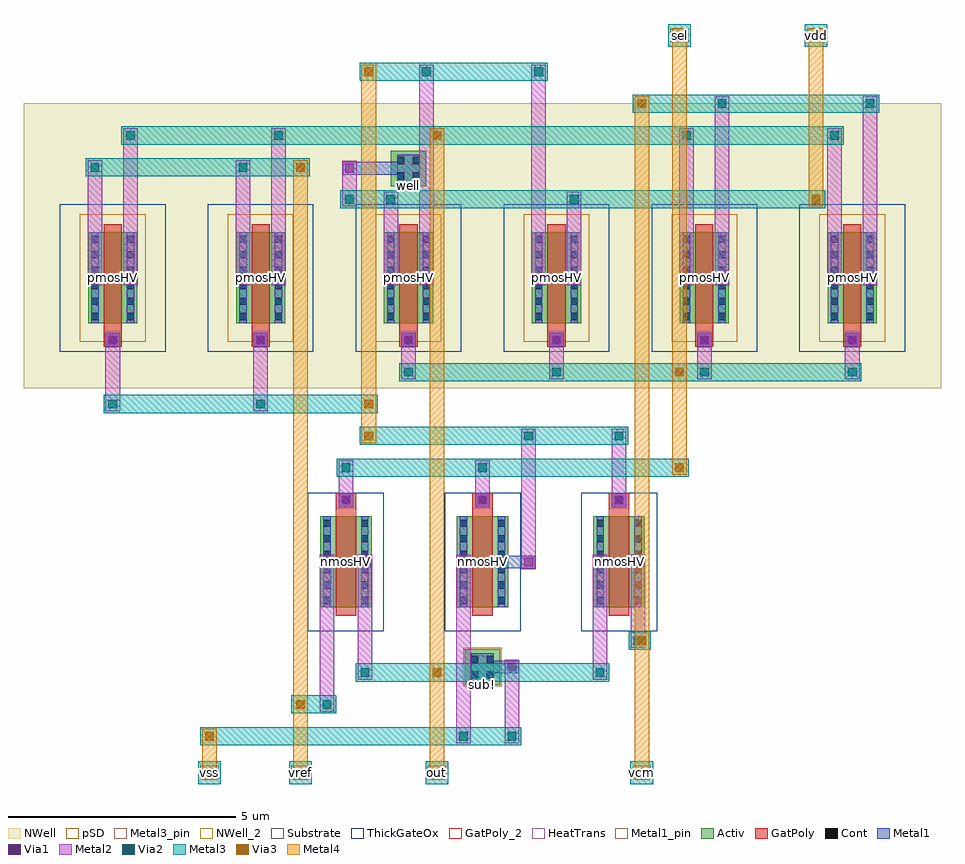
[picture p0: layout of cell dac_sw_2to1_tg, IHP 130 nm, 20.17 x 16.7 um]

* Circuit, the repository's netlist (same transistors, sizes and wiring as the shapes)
** sch_path: /home/arjun/eda/projects/SAR_ADC/circuit_files/sar_adc_test/xschem/dac_sw_2to1_tg.sch
.subckt dac_sw_2to1_tg sel out vss vdd vref vcm
*.PININFO sel:I vdd:B vref:B vcm:B vss:B out:B
x1 vss sel selb vdd vref out tg
x3 vss selb sel vdd vcm out tg
x2 vdd sel selb vss inverter
.ends

* expanding   symbol:  tg.sym # of pins=6
** sym_path: /home/arjun/eda/projects/SAR_ADC/circuit_files/sar_adc_test/xschem/tg.sym
** sch_path: /home/arjun/eda/projects/SAR_ADC/circuit_files/sar_adc_test/xschem/tg.sch
.subckt tg vss ng pg vdd a b
*.PININFO ng:I vdd:B pg:I a:B b:B vss:B
MM12 b ng a vss sg13_hv_nmos w=2u l=0.45u ng=1
MM16 b pg a vdd sg13_hv_pmos w=2u l=0.4u ng=1 m=2
.ends


* expanding   symbol:  inverter.sym # of pins=4
** sym_path: /home/arjun/eda/projects/SAR_ADC/circuit_files/sar_adc_test/xschem/inverter.sym
** sch_path: /home/arjun/eda/projects/SAR_ADC/circuit_files/sar_adc_test/xschem/inverter.sch
.subckt inverter vdd Vinn Voutp vss
*.PININFO vdd:B vss:B Vinn:I Voutp:O
MM12 Voutp Vinn vss vss sg13_hv_nmos w=2u l=0.45u ng=1
MM16 Voutp Vinn vdd vdd sg13_hv_pmos w=2u l=0.4u ng=1 m=2
.ends

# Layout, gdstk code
import gdstk
lib = gdstk.Library(unit=1e-6, precision=1e-09)
def R(c, l, rs):  # rectangles x0, y0, x1, y1
    for r in rs: c.add(gdstk.rectangle(r[:2], r[2:], *l))
def A(c, l, x, y, w, h, nx, ny, dx, dy):  # array of equal rectangles
    R(c, l, [(x+i*dx, y+j*dy, x+i*dx+w, y+j*dy+h) for i in range(nx) for j in range(ny)])
Activ = (1, 0)
GatPoly = (5, 0)
GatPoly_2 = (5, 2)
Cont = (6, 0)
Metal1 = (8, 0)
Metal1_pin = (8, 2)
Metal2 = (10, 0)
pSD = (14, 0)
Via1 = (19, 0)
Via2 = (29, 0)
Metal3 = (30, 0)
Metal3_pin = (30, 2)
NWell = (31, 0)
NWell_2 = (31, 2)
Substrate = (40, 0)
ThickGateOx = (44, 0)
Via3 = (49, 0)
Metal4 = (50, 0)
HeatTrans = (51, 0)

dac_sw_2to1_tg = lib.new_cell('dac_sw_2to1_tg')
A(dac_sw_2to1_tg, Activ, -3.565, 3.63, 1.13, 2, 3, 1, 3, 0)
A(dac_sw_2to1_tg, Activ, -8.665, 9.87, 1.08, 2, 6, 1, 3.25, 0)
R(dac_sw_2to1_tg, Activ, [(-0.39,1.93,0.39,2.71), (-3.565,3.63,-3.265,3.93), (-2.735,3.63,-2.435,3.93), (-0.565,3.63,-0.265,3.93), (0.265,3.63,0.565,3.93), (2.435,3.63,2.735,3.93), (3.265,3.63,3.565,3.93), (-8.665,9.87,-8.365,10.17), (-7.885,9.87,-7.585,10.17), (-5.415,9.87,-5.115,10.17), (-4.635,9.87,-4.335,10.17), (-2.165,9.87,-1.865,10.17), (-1.385,9.87,-1.085,10.17), (1.085,9.87,1.385,10.17), (1.865,9.87,2.165,10.17), (4.335,9.87,4.635,10.17), (5.115,9.87,5.415,10.17), (7.585,9.87,7.885,10.17), (8.365,9.87,8.665,10.17), (-2.015,12.89,-1.235,13.67)])
A(dac_sw_2to1_tg, GatPoly, -3.225, 3.45, 0.45, 2.36, 3, 1, 3, 0)
A(dac_sw_2to1_tg, GatPoly, -3.225, 5.79, 0.45, 0.35, 3, 1, 3, 0)
A(dac_sw_2to1_tg, GatPoly, -8.325, 9.36, 0.4, 0.35, 6, 1, 3.25, 0)
A(dac_sw_2to1_tg, GatPoly, -8.325, 9.69, 0.4, 2.36, 6, 1, 3.25, 0)
A(dac_sw_2to1_tg, GatPoly_2, -3.225, 3.45, 0.45, 2.36, 3, 1, 3, 0)
A(dac_sw_2to1_tg, GatPoly_2, -8.325, 9.69, 0.4, 2.36, 6, 1, 3.25, 0)
A(dac_sw_2to1_tg, Cont, -3.495, 3.7, 0.16, 0.16, 1, 6, 0, 0.34)
A(dac_sw_2to1_tg, Cont, -2.665, 3.7, 0.16, 0.16, 1, 6, 0, 0.34)
A(dac_sw_2to1_tg, Cont, -0.495, 3.7, 0.16, 0.16, 1, 6, 0, 0.34)
A(dac_sw_2to1_tg, Cont, 0.335, 3.7, 0.16, 0.16, 1, 6, 0, 0.34)
A(dac_sw_2to1_tg, Cont, 2.505, 3.7, 0.16, 0.16, 1, 6, 0, 0.34)
A(dac_sw_2to1_tg, Cont, 3.335, 3.7, 0.16, 0.16, 1, 6, 0, 0.34)
A(dac_sw_2to1_tg, Cont, -3.08, 5.91, 0.16, 0.16, 3, 1, 3, 0)
A(dac_sw_2to1_tg, Cont, -8.205, 9.43, 0.16, 0.16, 6, 1, 3.25, 0)
A(dac_sw_2to1_tg, Cont, -8.595, 9.94, 0.16, 0.16, 1, 6, 0, 0.34)
A(dac_sw_2to1_tg, Cont, -7.815, 9.94, 0.16, 0.16, 1, 6, 0, 0.34)
A(dac_sw_2to1_tg, Cont, -5.345, 9.94, 0.16, 0.16, 1, 6, 0, 0.34)
A(dac_sw_2to1_tg, Cont, -4.565, 9.94, 0.16, 0.16, 1, 6, 0, 0.34)
A(dac_sw_2to1_tg, Cont, -2.095, 9.94, 0.16, 0.16, 1, 6, 0, 0.34)
A(dac_sw_2to1_tg, Cont, -1.315, 9.94, 0.16, 0.16, 1, 6, 0, 0.34)
A(dac_sw_2to1_tg, Cont, 1.155, 9.94, 0.16, 0.16, 1, 6, 0, 0.34)
A(dac_sw_2to1_tg, Cont, 1.935, 9.94, 0.16, 0.16, 1, 6, 0, 0.34)
A(dac_sw_2to1_tg, Cont, 4.405, 9.94, 0.16, 0.16, 1, 6, 0, 0.34)
A(dac_sw_2to1_tg, Cont, 5.185, 9.94, 0.16, 0.16, 1, 6, 0, 0.34)
A(dac_sw_2to1_tg, Cont, 7.655, 9.94, 0.16, 0.16, 1, 6, 0, 0.34)
A(dac_sw_2to1_tg, Cont, 8.435, 9.94, 0.16, 0.16, 1, 6, 0, 0.34)
R(dac_sw_2to1_tg, Cont, [(-0.25,2.07,-0.09,2.23), (0.09,2.07,0.25,2.23), (-0.25,2.41,-0.09,2.57), (0.09,2.41,0.25,2.57), (-1.875,13.03,-1.715,13.19), (-1.535,13.03,-1.375,13.19), (-1.875,13.37,-1.715,13.53), (-1.535,13.37,-1.375,13.53)])
A(dac_sw_2to1_tg, Metal1, -3.16, 5.83, 0.32, 0.32, 3, 1, 3, 0)
A(dac_sw_2to1_tg, Metal1, -3.145, 5.885, 0.29, 0.21, 3, 1, 3, 0)
A(dac_sw_2to1_tg, Metal1, -8.285, 9.35, 0.32, 0.32, 6, 1, 3.25, 0)
A(dac_sw_2to1_tg, Metal1, -8.27, 9.405, 0.29, 0.21, 6, 1, 3.25, 0)
R(dac_sw_2to1_tg, Metal1, [(-0.25,2.02,0.25,2.62), (-0.25,2.07,0.25,2.57), (-0.14,2.18,0.79,2.46), (0.505,2.215,0.795,2.425), (-3.495,3.63,-3.335,5.63), (-2.665,3.63,-2.505,5.63), (-0.495,3.63,-0.335,5.63), (0.335,3.63,0.495,5.63), (2.505,3.63,2.665,5.63), (3.335,3.63,3.495,5.63), (0.275,4.49,1.155,4.77), (-3.56,4.525,-3.27,4.735), (-2.73,4.525,-2.44,4.735), (-0.56,4.525,-0.27,4.735), (0.87,4.525,1.16,4.735), (2.44,4.525,2.73,4.735), (3.27,4.525,3.56,4.735), (-8.595,9.87,-8.435,11.87), (-7.815,9.87,-7.655,11.87), (-5.345,9.87,-5.185,11.87), (-4.565,9.87,-4.405,11.87), (-2.095,9.87,-1.935,11.87), (-1.315,9.87,-1.155,11.87), (1.155,9.87,1.315,11.87), (1.935,9.87,2.095,11.87), (4.405,9.87,4.565,11.87), (5.185,9.87,5.345,11.87), (7.655,9.87,7.815,11.87), (8.435,9.87,8.595,11.87), (-8.66,10.765,-8.37,10.975), (-7.88,10.765,-7.59,10.975), (-5.41,10.765,-5.12,10.975), (-4.63,10.765,-4.34,10.975), (-2.16,10.765,-1.87,10.975), (-1.38,10.765,-1.09,10.975), (1.09,10.765,1.38,10.975), (1.87,10.765,2.16,10.975), (4.34,10.765,4.63,10.975), (5.12,10.765,5.41,10.975), (7.59,10.765,7.88,10.975), (8.37,10.765,8.66,10.975), (-1.875,12.98,-1.375,13.58), (-3.065,13.14,-1.485,13.42), (-3.07,13.175,-2.78,13.385)])
R(dac_sw_2to1_tg, Metal1_pin, [(-0.25,2.07,0.25,2.57), (-3.495,3.63,-3.335,5.63), (-2.665,3.63,-2.505,5.63), (-0.495,3.63,-0.335,5.63), (0.335,3.63,0.495,5.63), (2.505,3.63,2.665,5.63), (3.335,3.63,3.495,5.63), (-8.595,9.87,-8.435,11.87), (-7.815,9.87,-7.655,11.87), (-5.345,9.87,-5.185,11.87), (-4.565,9.87,-4.405,11.87), (-2.095,9.87,-1.935,11.87), (-1.315,9.87,-1.155,11.87), (1.155,9.87,1.315,11.87), (1.935,9.87,2.095,11.87), (4.405,9.87,4.565,11.87), (5.185,9.87,5.345,11.87), (7.655,9.87,7.815,11.87), (8.435,9.87,8.595,11.87), (-1.875,12.98,-1.375,13.58), (-1.875,13.03,-1.375,13.53)])
A(dac_sw_2to1_tg, Metal2, -3.145, 5.89, 0.29, 0.2, 3, 1, 3, 0)
A(dac_sw_2to1_tg, Metal2, -1.785, 8.64, 0.32, 1.03, 4, 1, 3.25, 0)
A(dac_sw_2to1_tg, Metal2, -1.77, 8.7, 0.29, 0.2, 4, 1, 3.25, 0)
A(dac_sw_2to1_tg, Metal2, -8.27, 9.41, 0.29, 0.2, 6, 1, 3.25, 0)
R(dac_sw_2to1_tg, Metal2, [(-0.575,0.64,-0.255,4.79), (0.49,0.64,0.81,2.48), (-0.56,0.7,-0.27,0.9), (0.505,0.7,0.795,0.9), (-3.575,1.34,-3.255,4.79), (-3.56,1.4,-3.27,1.6), (-2.745,2.04,-2.425,4.79), (2.425,2.04,2.745,4.79), (-2.73,2.1,-2.44,2.3), (2.44,2.1,2.73,2.3), (0.505,2.22,0.795,2.42), (3.255,2.74,3.575,4.79), (3.27,2.8,3.56,3), (0.855,4.47,1.175,7.56), (-3.56,4.53,-3.27,4.73), (-2.73,4.53,-2.44,4.73), (-0.56,4.53,-0.27,4.73), (0.87,4.53,1.16,4.73), (2.44,4.53,2.73,4.73), (3.27,4.53,3.56,4.73), (-3.16,5.83,-2.84,6.86), (-0.16,5.83,0.16,6.86), (2.84,5.83,3.16,7.56), (-3.145,6.6,-2.855,6.8), (-0.145,6.6,0.145,6.8), (0.87,7.3,1.16,7.5), (2.855,7.3,3.145,7.5), (-8.285,7.94,-7.965,9.67), (-5.035,7.94,-4.715,9.67), (-8.27,8,-7.98,8.2), (-5.02,8,-4.73,8.2), (-8.675,10.71,-8.355,13.46), (-7.895,10.71,-7.575,14.16), (-5.425,10.71,-5.105,13.46), (-4.645,10.71,-4.325,14.16), (-2.175,10.71,-1.855,12.76), (-1.395,10.71,-1.075,15.56), (1.075,10.71,1.395,15.56), (1.855,10.71,2.175,12.76), (4.325,10.71,4.645,14.16), (5.105,10.71,5.425,14.86), (7.575,10.71,7.895,14.16), (8.355,10.71,8.675,14.86), (-8.66,10.77,-8.37,10.97), (-7.88,10.77,-7.59,10.97), (-5.41,10.77,-5.12,10.97), (-4.63,10.77,-4.34,10.97), (-2.16,10.77,-1.87,10.97), (-1.38,10.77,-1.09,10.97), (1.09,10.77,1.38,10.97), (1.87,10.77,2.16,10.97), (4.34,10.77,4.63,10.97), (5.12,10.77,5.41,10.97), (7.59,10.77,7.88,10.97), (8.37,10.77,8.66,10.97), (-3.085,12.44,-2.765,13.44), (-3.07,12.5,-2.78,12.7), (-2.16,12.5,-1.87,12.7), (1.87,12.5,2.16,12.7), (-3.07,13.18,-2.78,13.38), (-8.66,13.2,-8.37,13.4), (-5.41,13.2,-5.12,13.4), (-7.88,13.9,-7.59,14.1), (-4.63,13.9,-4.34,14.1), (4.34,13.9,4.63,14.1), (7.59,13.9,7.88,14.1), (5.12,14.6,5.41,14.8), (8.37,14.6,8.66,14.8), (-1.38,15.3,-1.09,15.5), (1.09,15.3,1.38,15.5)])
A(dac_sw_2to1_tg, pSD, -8.845, 9.47, 1.44, 2.8, 6, 1, 3.25, 0)
R(dac_sw_2to1_tg, pSD, [(-0.42,1.9,0.42,2.74)])
A(dac_sw_2to1_tg, Via1, -3.095, 5.895, 0.19, 0.19, 3, 1, 3, 0)
A(dac_sw_2to1_tg, Via1, -8.22, 9.415, 0.19, 0.19, 6, 1, 3.25, 0)
R(dac_sw_2to1_tg, Via1, [(0.555,2.225,0.745,2.415), (-3.51,4.535,-3.32,4.725), (-2.68,4.535,-2.49,4.725), (-0.51,4.535,-0.32,4.725), (0.92,4.535,1.11,4.725), (2.49,4.535,2.68,4.725), (3.32,4.535,3.51,4.725), (-8.61,10.775,-8.42,10.965), (-7.83,10.775,-7.64,10.965), (-5.36,10.775,-5.17,10.965), (-4.58,10.775,-4.39,10.965), (-2.11,10.775,-1.92,10.965), (-1.33,10.775,-1.14,10.965), (1.14,10.775,1.33,10.965), (1.92,10.775,2.11,10.965), (4.39,10.775,4.58,10.965), (5.17,10.775,5.36,10.965), (7.64,10.775,7.83,10.965), (8.42,10.775,8.61,10.965), (-3.02,13.185,-2.83,13.375)])
A(dac_sw_2to1_tg, Via2, -1.72, 8.705, 0.19, 0.19, 4, 1, 3.25, 0)
R(dac_sw_2to1_tg, Via2, [(-0.51,0.705,-0.32,0.895), (0.555,0.705,0.745,0.895), (-3.51,1.405,-3.32,1.595), (-2.68,2.105,-2.49,2.295), (2.49,2.105,2.68,2.295), (3.32,2.805,3.51,2.995), (-3.095,6.605,-2.905,6.795), (-0.095,6.605,0.095,6.795), (0.92,7.305,1.11,7.495), (2.905,7.305,3.095,7.495), (-8.22,8.005,-8.03,8.195), (-4.97,8.005,-4.78,8.195), (-3.02,12.505,-2.83,12.695), (-2.11,12.505,-1.92,12.695), (1.92,12.505,2.11,12.695), (-8.61,13.205,-8.42,13.395), (-5.36,13.205,-5.17,13.395), (-7.83,13.905,-7.64,14.095), (-4.58,13.905,-4.39,14.095), (4.39,13.905,4.58,14.095), (7.64,13.905,7.83,14.095), (5.17,14.605,5.36,14.795), (8.42,14.605,8.61,14.795), (-1.33,15.305,-1.14,15.495), (1.14,15.305,1.33,15.495)])
R(dac_sw_2to1_tg, Metal3, [(-6.25,-0.25,-5.75,0.25), (-4.25,-0.25,-3.75,0.25), (-1.25,-0.25,-0.75,0.25), (3.25,-0.25,3.75,0.25), (-6.145,-0.1,-5.855,0.1), (-4.145,-0.1,-3.855,0.1), (-1.145,-0.1,-0.855,0.1), (3.355,-0.1,3.645,0.1), (-6.2,0.6,0.85,1), (-6.145,0.7,-5.855,0.9), (-0.56,0.7,-0.27,0.9), (0.505,0.7,0.795,0.9), (-4.2,1.3,-3.215,1.7), (-4.145,1.4,-3.855,1.6), (-3.56,1.4,-3.27,1.6), (-2.785,2,2.785,2.4), (-2.73,2.1,-2.44,2.3), (-1.145,2.1,-0.855,2.3), (2.44,2.1,2.73,2.3), (3.215,2.7,3.7,3.1), (3.27,2.8,3.56,3), (3.355,2.8,3.645,3), (-3.2,6.5,4.53,6.9), (-3.145,6.6,-2.855,6.8), (-0.145,6.6,0.145,6.8), (4.185,6.6,4.475,6.8), (-2.7,7.2,3.2,7.6), (-2.645,7.3,-2.355,7.5), (0.87,7.3,1.16,7.5), (2.855,7.3,3.145,7.5), (-8.325,7.9,-2.3,8.3), (-8.27,8,-7.98,8.2), (-5.02,8,-4.73,8.2), (-2.645,8,-2.355,8.2), (-1.825,8.6,8.325,9), (-1.77,8.7,-1.48,8.9), (1.48,8.7,1.77,8.9), (4.185,8.7,4.475,8.9), (4.73,8.7,5.02,8.9), (7.98,8.7,8.27,8.9), (-3.125,12.4,7.53,12.8), (-3.07,12.5,-2.78,12.7), (-2.16,12.5,-1.87,12.7), (1.87,12.5,2.16,12.7), (7.185,12.5,7.475,12.7), (-8.715,13.1,-3.8,13.5), (-8.66,13.2,-8.37,13.4), (-5.41,13.2,-5.12,13.4), (-4.145,13.2,-3.855,13.4), (-7.935,13.8,7.935,14.2), (-7.88,13.9,-7.59,14.1), (-4.63,13.9,-4.34,14.1), (-1.145,13.9,-0.855,14.1), (4.34,13.9,4.63,14.1), (7.59,13.9,7.88,14.1), (3.3,14.5,8.715,14.9), (3.355,14.6,3.645,14.8), (5.12,14.6,5.41,14.8), (8.37,14.6,8.66,14.8), (-2.7,15.2,1.435,15.6), (-2.645,15.3,-2.355,15.5), (-1.38,15.3,-1.09,15.5), (1.09,15.3,1.38,15.5), (4.08,15.95,4.58,16.45), (7.08,15.95,7.58,16.45), (4.185,16.1,4.475,16.3), (7.185,16.1,7.475,16.3)])
R(dac_sw_2to1_tg, Metal3_pin, [(-6.2,-0.15,-5.8,0.15), (-4.2,-0.15,-3.8,0.15), (-1.2,-0.15,-0.8,0.15), (3.3,-0.15,3.7,0.15), (4.13,16.05,4.53,16.35), (7.13,16.05,7.53,16.35)])
A(dac_sw_2to1_tg, NWell, -9.285, 9.25, 2.32, 3.24, 6, 1, 3.25, 0)
R(dac_sw_2to1_tg, NWell, [(-10.085,8.45,10.085,14.71), (-2.255,12.65,-0.995,13.91), (-2.015,12.89,-1.235,13.67)])
R(dac_sw_2to1_tg, NWell_2, [(-2.015,12.89,-1.235,13.67)])
R(dac_sw_2to1_tg, Substrate, [(-0.39,1.93,0.39,2.71)])
A(dac_sw_2to1_tg, ThickGateOx, -3.835, 3.11, 1.67, 3.04, 3, 1, 3, 0)
A(dac_sw_2to1_tg, ThickGateOx, -9.285, 9.25, 2.32, 3.24, 6, 1, 3.25, 0)
R(dac_sw_2to1_tg, Via3, [(-6.095,-0.095,-5.905,0.095), (-4.095,-0.095,-3.905,0.095), (-1.095,-0.095,-0.905,0.095), (3.405,-0.095,3.595,0.095), (-6.095,0.705,-5.905,0.895), (-4.095,1.405,-3.905,1.595), (-1.095,2.105,-0.905,2.295), (3.405,2.805,3.595,2.995), (4.235,6.605,4.425,6.795), (-2.595,7.305,-2.405,7.495), (-2.595,8.005,-2.405,8.195), (4.235,8.705,4.425,8.895), (7.235,12.505,7.425,12.695), (-4.095,13.205,-3.905,13.395), (-1.095,13.905,-0.905,14.095), (3.405,14.605,3.595,14.795), (-2.595,15.305,-2.405,15.495), (4.235,16.105,4.425,16.295), (7.235,16.105,7.425,16.295)])
R(dac_sw_2to1_tg, Metal4, [(-6.16,-0.16,-5.84,0.96), (-4.16,-0.16,-3.84,13.46), (-1.16,-0.16,-0.84,14.16), (3.34,-0.16,3.66,14.86), (-6.145,-0.1,-5.855,0.1), (-4.145,-0.1,-3.855,0.1), (-1.145,-0.1,-0.855,0.1), (3.355,-0.1,3.645,0.1), (-6.145,0.7,-5.855,0.9), (-4.145,1.4,-3.855,1.6), (-1.145,2.1,-0.855,2.3), (3.355,2.8,3.645,3), (4.17,6.54,4.49,16.36), (4.185,6.6,4.475,6.8), (-2.66,7.24,-2.34,15.56), (-2.645,7.3,-2.355,7.5), (-2.645,8,-2.355,8.2), (4.185,8.7,4.475,8.9), (7.17,12.44,7.49,16.36), (7.185,12.5,7.475,12.7), (-4.145,13.2,-3.855,13.4), (-1.145,13.9,-0.855,14.1), (3.355,14.6,3.645,14.8), (-2.645,15.3,-2.355,15.5), (4.185,16.1,4.475,16.3), (7.185,16.1,7.475,16.3)])
A(dac_sw_2to1_tg, HeatTrans, -3.225, 3.45, 0.45, 2.36, 3, 1, 3, 0)
A(dac_sw_2to1_tg, HeatTrans, -8.325, 9.69, 0.4, 2.36, 6, 1, 3.25, 0)
dac_sw_2to1_tg.add(gdstk.Label('nmosHV', (-3,4.63), layer=63, texttype=0))
dac_sw_2to1_tg.add(gdstk.Label('nmosHV', (0,4.63), layer=63, texttype=0))
dac_sw_2to1_tg.add(gdstk.Label('nmosHV', (3,4.63), layer=63, texttype=0))
dac_sw_2to1_tg.add(gdstk.Label('pmosHV', (-8.125,10.87), layer=63, texttype=0))
dac_sw_2to1_tg.add(gdstk.Label('pmosHV', (-4.875,10.87), layer=63, texttype=0))
dac_sw_2to1_tg.add(gdstk.Label('pmosHV', (-1.625,10.87), layer=63, texttype=0))
dac_sw_2to1_tg.add(gdstk.Label('pmosHV', (1.625,10.87), layer=63, texttype=0))
dac_sw_2to1_tg.add(gdstk.Label('pmosHV', (4.875,10.87), layer=63, texttype=0))
dac_sw_2to1_tg.add(gdstk.Label('pmosHV', (8.125,10.87), layer=63, texttype=0))
dac_sw_2to1_tg.add(gdstk.Label('sub!', (0,1.94), layer=63, texttype=0))
dac_sw_2to1_tg.add(gdstk.Label('well', (-1.625,12.9), layer=63, texttype=0))
dac_sw_2to1_tg.add(gdstk.Label('nmosHV', (-3,4.63), layer=51, texttype=0))
dac_sw_2to1_tg.add(gdstk.Label('nmosHV', (0,4.63), layer=51, texttype=0))
dac_sw_2to1_tg.add(gdstk.Label('nmosHV', (3,4.63), layer=51, texttype=0))
dac_sw_2to1_tg.add(gdstk.Label('pmos', (-8.125,10.87), layer=51, texttype=0))
dac_sw_2to1_tg.add(gdstk.Label('pmos', (-4.875,10.87), layer=51, texttype=0))
dac_sw_2to1_tg.add(gdstk.Label('pmos', (-1.625,10.87), layer=51, texttype=0))
dac_sw_2to1_tg.add(gdstk.Label('pmos', (1.625,10.87), layer=51, texttype=0))
dac_sw_2to1_tg.add(gdstk.Label('pmos', (4.875,10.87), layer=51, texttype=0))
dac_sw_2to1_tg.add(gdstk.Label('pmos', (8.125,10.87), layer=51, texttype=0))
dac_sw_2to1_tg.add(gdstk.Label('well', (-1.625,12.9), layer=31, texttype=0))
dac_sw_2to1_tg.add(gdstk.Label('sub!', (0,1.94), layer=40, texttype=0))
dac_sw_2to1_tg.add(gdstk.Label('vss', (-6,0), layer=30, texttype=25))
dac_sw_2to1_tg.add(gdstk.Label('vref', (-4,0), layer=30, texttype=25))
dac_sw_2to1_tg.add(gdstk.Label('out', (-1,0), layer=30, texttype=25))
dac_sw_2to1_tg.add(gdstk.Label('sel', (4.33,16.2), layer=30, texttype=25))
dac_sw_2to1_tg.add(gdstk.Label('vcm', (3.5,0), layer=30, texttype=25))
dac_sw_2to1_tg.add(gdstk.Label('vdd', (7.33,16.2), layer=30, texttype=25))

lib.write_gds('dac_sw_2to1_tg.gds')
